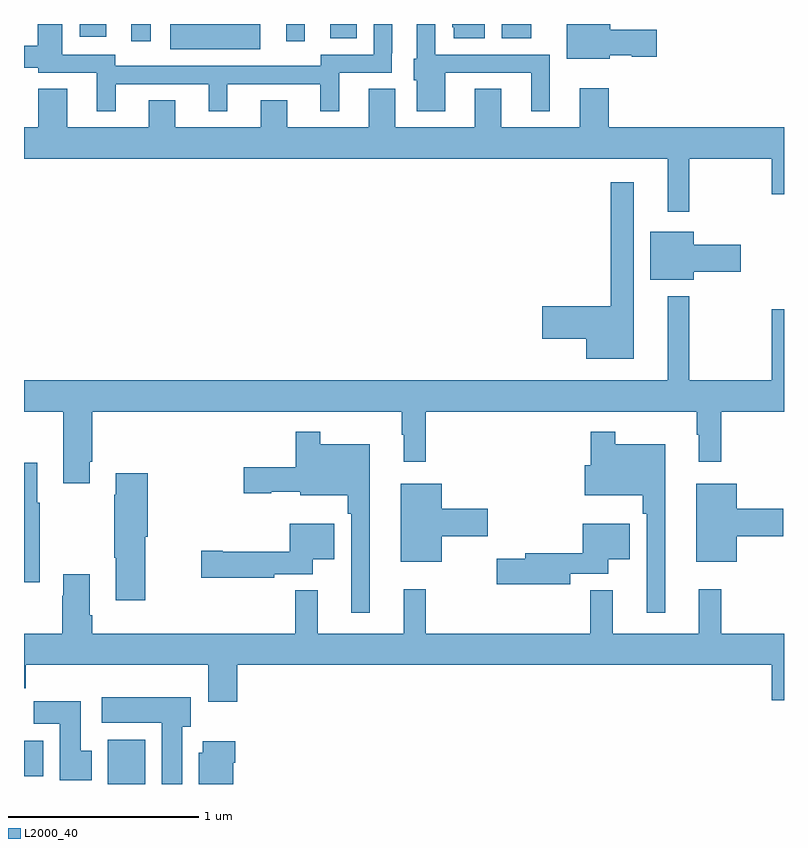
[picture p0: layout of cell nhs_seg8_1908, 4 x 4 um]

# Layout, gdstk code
import gdstk
lib = gdstk.Library(unit=1e-6, precision=1e-09)
def R(c, l, rs):  # rectangles x0, y0, x1, y1
    for r in rs: c.add(gdstk.rectangle(r[:2], r[2:], *l))
def P(c, l, *ps):  # polygons
    for p in ps: c.add(gdstk.Polygon(p, *l))
L2000_40 = (2000, 40)

nhs_seg8_1908 = lib.new_cell('nhs_seg8_1908')
R(nhs_seg8_1908, L2000_40, [(233.441,1087.9,233.638,1088.134), (233,1087.94,233.101,1088.128), (233.769,1091.768,234.244,1091.899), (233.564,1091.808,233.668,1091.9), (234.38,1091.808,234.478,1091.9), (235.514,1091.824,235.669,1091.9), (234.611,1091.826,234.751,1091.9), (233.294,1091.832,233.434,1091.9)])
P(nhs_seg8_1908, L2000_40, [(236.082,1091.735),(236.199,1091.735),(236.199,1091.728),(236.329,1091.728),(236.329,1091.87),(236.086,1091.87),(236.086,1091.9),(235.856,1091.9),(235.856,1091.717),(236.082,1091.717)],
  [(235.426,1091.9),(235.253,1091.9),(235.253,1091.883),(235.262,1091.883),(235.262,1091.824),(235.426,1091.824)],
  [(235.216,1091.643),(235.67,1091.643),(235.67,1091.442),(235.768,1091.442),(235.768,1091.739),(235.164,1091.739),(235.164,1091.9),(235.067,1091.9),(235.067,1091.718),(235.052,1091.718),(235.052,1091.604),(235.067,1091.604),(235.067,1091.442),(235.216,1091.442)],
  [(233.482,1091.583),(233.972,1091.583),(233.972,1091.442),(234.07,1091.442),(234.07,1091.583),(234.56,1091.583),(234.56,1091.442),(234.658,1091.442),(234.658,1091.643),(234.936,1091.643),(234.936,1091.746),(234.937,1091.746),(234.937,1091.9),(234.84,1091.9),(234.84,1091.739),(234.561,1091.739),(234.561,1091.679),(233.481,1091.679),(233.481,1091.739),(233.202,1091.739),(233.202,1091.9),(233.072,1091.9),(233.072,1091.786),(233,1091.786),(233,1091.67),(233.076,1091.67),(233.076,1091.643),(233.384,1091.643),(233.384,1091.442),(233.482,1091.442)],
  [(236.501,1091.192),(236.936,1091.192),(236.936,1091.004),(237,1091.004),(237,1091.356),(236.078,1091.356),(236.078,1091.563),(235.925,1091.563),(235.925,1091.356),(235.513,1091.356),(235.513,1091.558),(235.373,1091.558),(235.373,1091.356),(234.955,1091.356),(234.955,1091.558),(234.815,1091.558),(234.815,1091.356),(234.385,1091.356),(234.385,1091.498),(234.245,1091.498),(234.245,1091.356),(233.797,1091.356),(233.797,1091.498),(233.657,1091.498),(233.657,1091.356),(233.227,1091.356),(233.227,1091.558),(233.075,1091.558),(233.075,1091.356),(233,1091.356),(233,1091.192),(236.387,1091.192),(236.387,1090.911),(236.501,1090.911)],
  [(236.209,1091.068),(236.088,1091.068),(236.088,1090.415),(235.728,1090.415),(235.728,1090.244),(235.958,1090.244),(235.958,1090.139),(236.209,1090.139)],
  [(236.524,1090.595),(236.773,1090.595),(236.773,1090.737),(236.524,1090.737),(236.524,1090.807),(236.297,1090.807),(236.297,1090.553),(236.524,1090.553)],
  [(233.347,1089.595),(233.36,1089.595),(233.36,1089.86),(234.987,1089.86),(234.987,1089.737),(234.998,1089.737),(234.998,1089.597),(235.115,1089.597),(235.115,1089.86),(236.541,1089.86),(236.541,1089.737),(236.552,1089.737),(236.552,1089.597),(236.669,1089.597),(236.669,1089.86),(237,1089.86),(237,1090.399),(236.936,1090.399),(236.936,1090.024),(236.501,1090.024),(236.501,1090.468),(236.387,1090.468),(236.387,1090.024),(233,1090.024),(233,1089.86),(233.207,1089.86),(233.207,1089.483),(233.347,1089.483)],
  [(236.374,1089.688),(236.113,1089.688),(236.113,1089.754),(235.984,1089.754),(235.984,1089.577),(235.95,1089.577),(235.95,1089.419),(236.257,1089.419),(236.257,1089.323),(236.277,1089.323),(236.277,1088.802),(236.374,1088.802)],
  [(234.82,1089.688),(234.559,1089.688),(234.559,1089.754),(234.43,1089.754),(234.43,1089.567),(234.156,1089.567),(234.156,1089.43),(234.302,1089.43),(234.302,1089.437),(234.453,1089.437),(234.453,1089.419),(234.703,1089.419),(234.703,1089.323),(234.723,1089.323),(234.723,1088.802),(234.82,1088.802)],
  [(233.083,1089.379),(233.071,1089.379),(233.071,1089.592),(233,1089.592),(233,1088.963),(233.083,1088.963)],
  [(233.638,1089.201),(233.651,1089.201),(233.651,1089.535),(233.483,1089.535),(233.483,1089.422),(233.476,1089.422),(233.476,1089.091),(233.483,1089.091),(233.483,1088.868),(233.638,1088.868)],
  [(236.752,1089.203),(236.995,1089.203),(236.995,1089.35),(236.752,1089.35),(236.752,1089.481),(236.537,1089.481),(236.537,1089.071),(236.752,1089.071)],
  [(235.198,1089.203),(235.441,1089.203),(235.441,1089.35),(235.198,1089.35),(235.198,1089.481),(234.983,1089.481),(234.983,1089.071),(235.198,1089.071)],
  [(235.876,1089.006),(236.074,1089.006),(236.074,1089.083),(236.188,1089.083),(236.188,1089.271),(235.94,1089.271),(235.94,1089.115),(235.637,1089.115),(235.637,1089.086),(235.488,1089.086),(235.488,1088.951),(235.876,1088.951)],
  [(234.318,1089.005),(234.52,1089.005),(234.52,1089.083),(234.634,1089.083),(234.634,1089.271),(234.398,1089.271),(234.398,1089.123),(234.046,1089.123),(234.046,1089.128),(233.934,1089.128),(233.934,1088.986),(234.318,1088.986)],
  [(234.122,1088.528),(236.936,1088.528),(236.936,1088.34),(237,1088.34),(237,1088.692),(236.669,1088.692),(236.669,1088.926),(236.552,1088.926),(236.552,1088.692),(236.099,1088.692),(236.099,1088.921),(235.981,1088.921),(235.981,1088.692),(235.115,1088.692),(235.115,1088.926),(234.998,1088.926),(234.998,1088.692),(234.545,1088.692),(234.545,1088.92),(234.427,1088.92),(234.427,1088.692),(233.36,1088.692),(233.36,1088.788),(233.347,1088.788),(233.347,1089.004),(233.207,1089.004),(233.207,1088.891),(233.2,1088.891),(233.2,1088.692),(233,1088.692),(233,1088.404),(233.009,1088.404),(233.009,1088.528),(233.969,1088.528),(233.969,1088.334),(234.122,1088.334)],
  [(233.833,1088.202),(233.878,1088.202),(233.878,1088.356),(233.409,1088.356),(233.409,1088.222),(233.726,1088.222),(233.726,1087.9),(233.833,1087.9)],
  [(233.356,1088.076),(233.299,1088.076),(233.299,1088.335),(233.05,1088.335),(233.05,1088.216),(233.189,1088.216),(233.189,1087.92),(233.356,1087.92)],
  [(234.1,1088.012),(234.113,1088.012),(234.113,1088.125),(233.942,1088.125),(233.942,1088.064),(233.921,1088.064),(233.921,1087.9),(234.1,1087.9)])

lib.write_gds('nhs_seg8_1908.gds')
